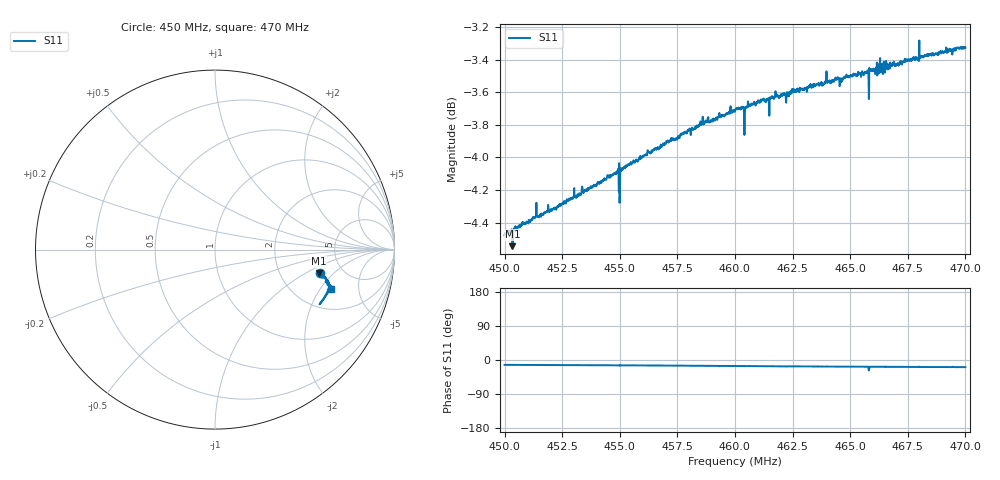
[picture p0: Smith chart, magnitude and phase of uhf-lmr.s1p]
! Calibrated averaged scanner-service zoom
# Hz S RI R 50
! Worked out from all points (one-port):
!   2001 points, 450 MHz to 470 MHz, reference 50 ohm
!   lowest |S11| = -4.5 dB at 450.34 MHz (marker M1), VSWR 3.91, Z = 166 - j67.6 ohm
!   |S11| at or under -10 dB: nowhere
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4.5e8  0.5825 -0.1319
4.5034e8  0.5777 -0.1323
4.525e8  0.5939 -0.142
4.5484e8  0.6058 -0.1506
4.5491e8  0.6063 -0.1522
4.55e8  0.596 -0.1497
4.5512e8  0.6071 -0.1524
4.5525e8  0.6078 -0.1531
4.575e8  0.618 -0.1634
4.5851e8  0.6242 -0.171
4.6e8  0.627 -0.1781
4.6051e8  0.6282 -0.1816
4.6092e8  0.629 -0.1838
4.6168e8  0.6308 -0.1869
4.6229e8  0.6318 -0.1904
4.625e8  0.6339 -0.1912
4.65e8  0.6369 -0.2018
4.6568e8  0.6384 -0.2042
4.6569e8  0.6383 -0.2045
4.6572e8  0.6376 -0.2049
4.6573e8  0.6382 -0.2044
4.6579e8  0.6262 -0.2355
4.6589e8  0.6392 -0.2051
4.659e8  0.6394 -0.2053
4.6593e8  0.6387 -0.2049
4.6594e8  0.6389 -0.2053
4.675e8  0.6424 -0.2112
4.7e8  0.6453 -0.22
